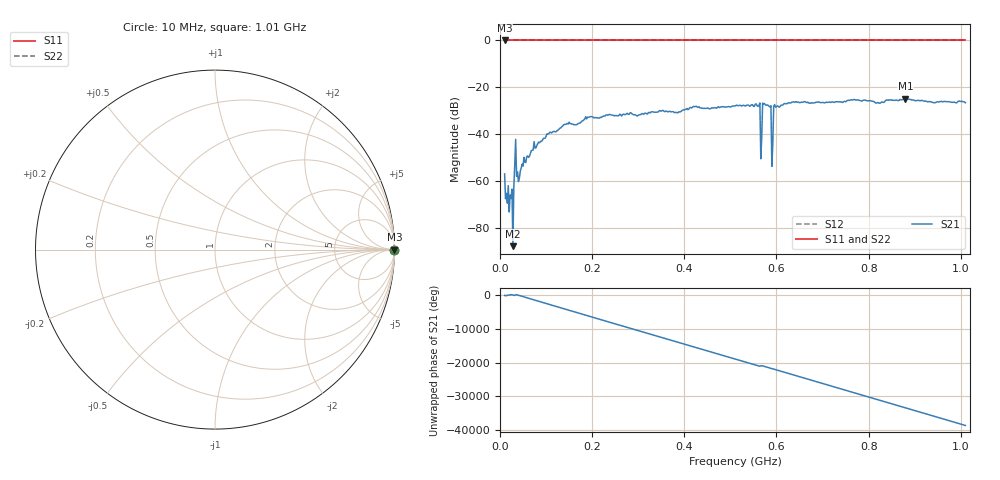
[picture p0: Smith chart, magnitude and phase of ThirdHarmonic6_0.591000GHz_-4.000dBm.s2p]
! 8/15/2025 7:10:53 PM
! C:\ANRITSUVNA\TEMP\TEMP.S2P
! CHANNEL.1
! TR.MEASUREMENT
! RAW.DATA
! RF.CORRECTION.OFF
! AVERAGING.OFF
! IF.BANDWIDTH: 5KHZ
! SWEEPTYPE:  FREQ.SWEEP(Linear)
! Reference Plane Port Info
! PORT:  PORT1  PORT2
! DISTANCE:  0  m  0  m
! TIME:  0  s  0  s
! PHASE.OFFSET:  0  deg.  0  deg.
! LOSS:  0  dB  0  dB
! REF.LOSS:  0  dB  0  dB
! REF.FREQ:  0  Hz  0  Hz
! Power Info
! POWER:  -20  dBm  -20  dBm
! EFF.POWER:  -20  dBm  -20  dBm
! SOURCE.ATTEN:  0  dB  0  dB
! TEST.ATTEN:  0  dB  0  dB
# GHZ S RI R 50.0
! FREQ.GHZ  S11RE  S11IM  S21RE  S21IM  S12RE  S12IM  S22RE  S22IM
!; PortSelection: Port_12
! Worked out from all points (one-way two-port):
!   501 points, 10 MHz to 1.01 GHz, reference 50 ohm
!   highest |S21| = -24.74 dB at 880 MHz (marker M1); lowest = -87.6 dB at 28 MHz (marker M2)
!   lowest |S11| = 0.0 dB at 10 MHz (marker M3)
!   |S11| at or under -10 dB: nowhere
!   |S22| runs from 0.0 to 0.0 dB; largest |S21 - S12| = 1.1
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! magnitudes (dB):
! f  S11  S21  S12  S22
! 10 MHz  0.0  -56.8  0.0  0.0
! 24 MHz  0.0  -67.2  0.0  0.0
! 28 MHz  0.0  -87.6  0.0  0.0
! 34 MHz  0.0  -42.1  0.0  0.0
! 40 MHz  0.0  -60.1  0.0  0.0
! 72 MHz  0.0  -46.6  0.0  0.0
! 178 MHz  0.0  -34.3  0.0  0.0
! 344 MHz  0.0  -30.4  0.0  0.0
! 510 MHz  0.0  -27.9  0.0  0.0
! 560 MHz  0.0  -28.1  0.0  0.0
! 564 MHz  0.0  -26.6  0.0  0.0
! 570 MHz  0.0  -26.7  0.0  0.0
! 574 MHz  0.0  -26.8  0.0  0.0
! 584 MHz  0.0  -28.0  0.0  0.0
! 588 MHz  0.0  -27.8  0.0  0.0
! 590 MHz  0.0  -53.6  0.0  0.0
! 594 MHz  0.0  -28.0  0.0  0.0
! 598 MHz  0.0  -28.4  0.0  0.0
! 678 MHz  0.0  -26.6  0.0  0.0
! 844 MHz  0.0  -25.3  0.0  0.0
! 880 MHz  0.0  -24.7  0.0  0.0
! 1.01 GHz  0.0  -26.5  0.0  0.0
